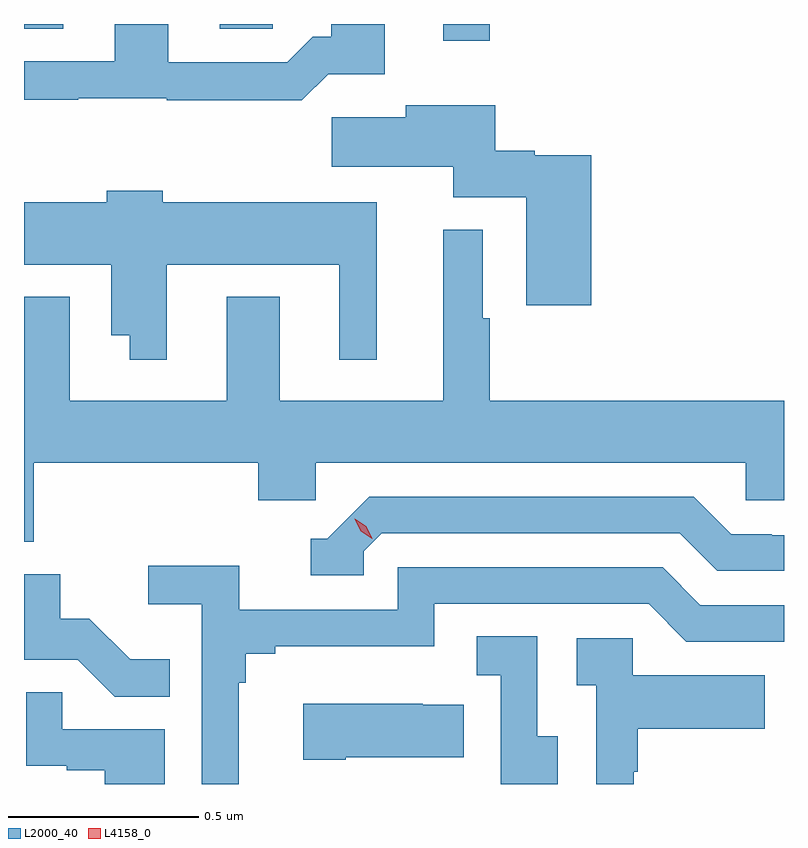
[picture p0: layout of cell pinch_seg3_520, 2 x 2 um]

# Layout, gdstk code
import gdstk
lib = gdstk.Library(unit=1e-6, precision=1e-09)
def R(c, l, rs):  # rectangles x0, y0, x1, y1
    for r in rs: c.add(gdstk.rectangle(r[:2], r[2:], *l))
def P(c, l, *ps):  # polygons
    for p in ps: c.add(gdstk.Polygon(p, *l))
L2000_40 = (2000, 40)
L4158_0 = (4158, 0)

pinch_seg3_520 = lib.new_cell('pinch_seg3_520')
R(pinch_seg3_520, L2000_40, [(977.867,678.051,977.989,678.095), (976.764,678.082,976.867,678.095), (977.279,678.082,977.418,678.095)])
P(pinch_seg3_520, L2000_40, [(977.564,677.963),(977.713,677.963),(977.713,678.095),(977.573,678.095),(977.573,678.061),(977.524,678.061),(977.457,677.994),(977.143,677.994),(977.143,678.095),(977.003,678.095),(977.003,677.997),(976.764,677.997),(976.764,677.896),(976.907,677.896),(976.907,677.899),(977.139,677.899),(977.139,677.894),(977.495,677.894)],
  [(978.257,677.749),(978.108,677.749),(978.108,677.762),(978.004,677.762),(978.004,677.881),(977.768,677.881),(977.768,677.849),(977.574,677.849),(977.574,677.72),(977.894,677.72),(977.894,677.639),(978.086,677.639),(978.086,677.355),(978.257,677.355)],
  [(977.14,677.462),(977.594,677.462),(977.594,677.211),(977.692,677.211),(977.692,677.626),(977.129,677.626),(977.129,677.656),(976.982,677.656),(976.982,677.626),(976.764,677.626),(976.764,677.462),(976.994,677.462),(976.994,677.276),(977.042,677.276),(977.042,677.211),(977.14,677.211)],
  [(976.79,676.94),(977.381,676.94),(977.381,676.842),(977.532,676.842),(977.532,676.94),(978.663,676.94),(978.663,676.842),(978.764,676.842),(978.764,677.104),(977.989,677.104),(977.989,677.321),(977.971,677.321),(977.971,677.554),(977.867,677.554),(977.867,677.104),(977.437,677.104),(977.437,677.377),(977.297,677.377),(977.297,677.104),(976.885,677.104),(976.885,677.377),(976.764,677.377),(976.764,676.732),(976.79,676.732)],
  [(977.658,676.707),(977.706,676.755),(978.489,676.755),(978.588,676.656),(978.764,676.656),(978.764,676.749),(978.732,676.749),(978.732,676.752),(978.625,676.752),(978.526,676.851),(977.673,676.851),(977.562,676.74),(977.519,676.74),(977.519,676.644),(977.658,676.644)],
  [(977.329,676.361),(977.348,676.361),(977.348,676.438),(977.425,676.438),(977.425,676.457),(977.844,676.457),(977.844,676.569),(978.408,676.569),(978.507,676.47),(978.764,676.47),(978.764,676.566),(978.544,676.566),(978.445,676.665),(977.748,676.665),(977.748,676.554),(977.33,676.554),(977.33,676.67),(977.091,676.67),(977.091,676.568),(977.232,676.568),(977.232,676.095),(977.329,676.095)],
  [(977.147,676.423),(977.043,676.423),(976.936,676.53),(976.86,676.53),(976.86,676.647),(976.764,676.647),(976.764,676.422),(976.905,676.422),(977.003,676.324),(977.147,676.324)],
  [(978.169,676.221),(978.114,676.221),(978.114,676.484),(977.955,676.484),(977.955,676.381),(978.018,676.381),(978.018,676.095),(978.169,676.095)],
  [(978.369,676.127),(978.379,676.127),(978.379,676.241),(978.713,676.241),(978.713,676.381),(978.366,676.381),(978.366,676.479),(978.219,676.479),(978.219,676.355),(978.27,676.355),(978.27,676.095),(978.369,676.095)],
  [(977.134,676.239),(976.865,676.239),(976.865,676.337),(976.77,676.337),(976.77,676.143),(976.877,676.143),(976.877,676.131),(976.976,676.131),(976.976,676.095),(977.134,676.095)],
  [(977.611,676.166),(977.921,676.166),(977.921,676.303),(977.813,676.303),(977.813,676.306),(977.499,676.306),(977.499,676.159),(977.611,676.159)])
P(pinch_seg3_520, L4158_0, [(977.681,676.74),(977.65,676.76),(977.634,676.793),(977.634,676.793),(977.634,676.793),(977.665,676.773),(977.681,676.74),(977.681,676.74)])

lib.write_gds('pinch_seg3_520.gds')
